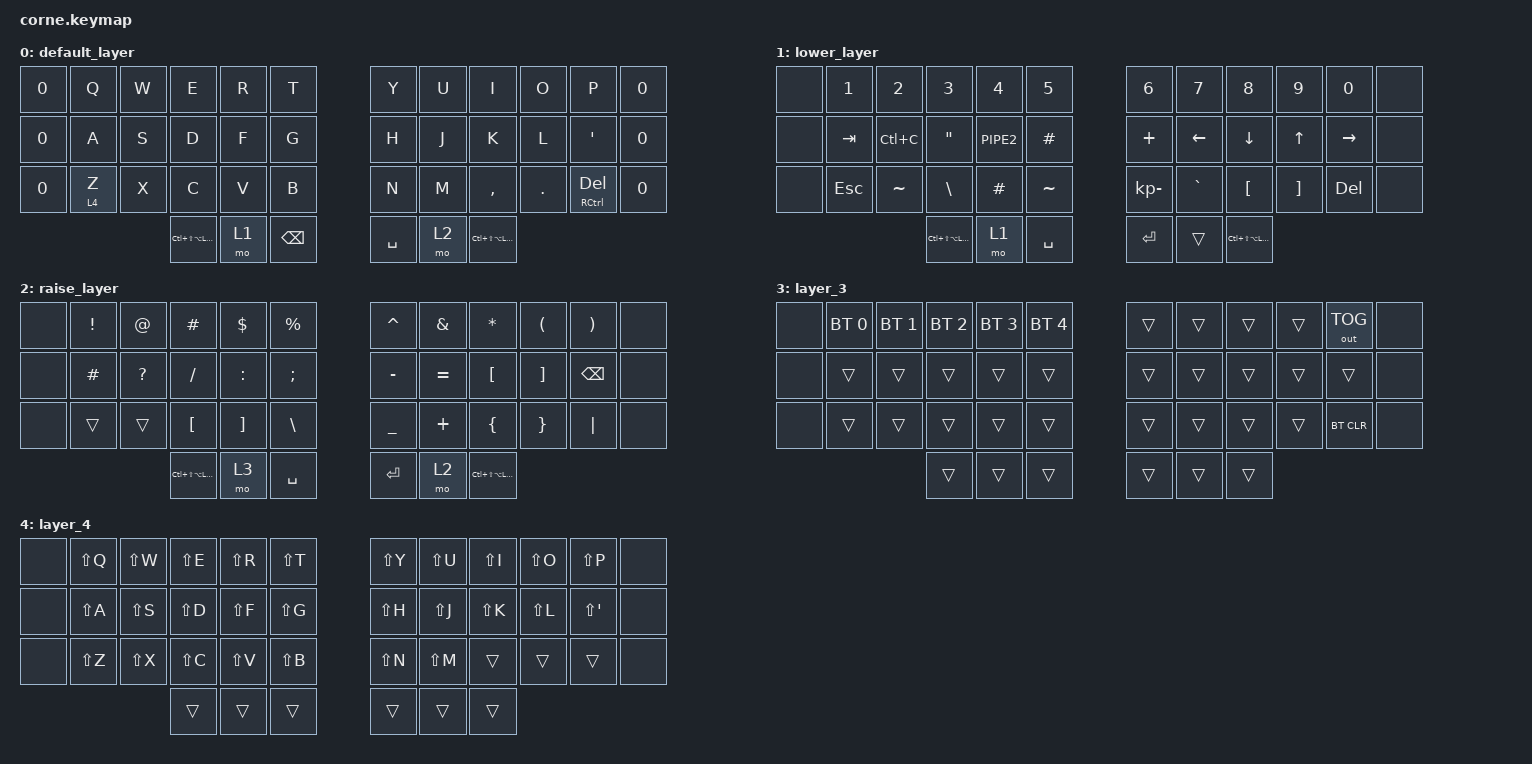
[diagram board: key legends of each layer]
/*
 * Copyright (c) 2020 The ZMK Contributors
 *
 * SPDX-License-Identifier: MIT
 */

#include <behaviors.dtsi>
#include <dt-bindings/zmk/bt.h>
#include <dt-bindings/zmk/keys.h>
#include <dt-bindings/zmk/outputs.h>

&mt {
    //  flavor = "tap-preferred";
    // tapping_term_ms = <200>;
};

//      (0)       1  	2 	3	4       5               6       7       8       9       10      (11)
//	(12)	13      14	15	16	17		18	19	20	21	22      (23)
//	(24)	25	26	27	28      29		30	31	32	33	34      (35)
//	                        36	37	38      	39	40      41
// 		>;

/ {
    combos {
        compatible = "zmk,combos";

        combo_esc {
            timeout-ms = <50>;
            key-positions = <1 2>;
            bindings = <&kp ESC>;
        };

        combo_tab {
            timeout-ms = <50>;
            key-positions = <9 10>;
            bindings = <&kp TAB>;
        };

        combo_ralt {
            timeout-ms = <50>;
            key-positions = <19 20>;
            bindings = <&kp RALT>;
        };

        combo_lalt {
            timeout-ms = <50>;
            key-positions = <14 15>;
            bindings = <&kp LALT>;
        };

        combo_lgui {
            timeout-ms = <50>;
            key-positions = <15 16>;
            bindings = <&kp LGUI>;
        };

        combo_rgui {
            timeout-ms = <50>;
            key-positions = <20 21>;
            bindings = <&kp RGUI>;
        };

        combo_lshift {
            timeout-ms = <50>;
            key-positions = <14 16>;
            bindings = <&kp LSHFT>;
        };

        combo_rshift {
            timeout-ms = <50>;
            key-positions = <19 21>;
            bindings = <&kp RSHFT>;
        };
    };

    behaviors {
        sp: sticky_press {
            compatible = "zmk,behavior-hold-tap";
            label = "STICKY_PRESS";
            #binding-cells = <2>;
            tapping_term_ms = <150>;
            quick_tap_ms = <0>;
            flavor = "tap-preferred";
            bindings = <&sl>, <&kp>;
        };
    };

    keymap {
        compatible = "zmk,keymap";

        default_layer {
            // -----------------------------------------------------------------------------------------
            // |  NA |  Q  |  W  |  E  |  R  |  T  |   |  Y  |  U   |  I  |  O  |  P  | NA |
            // | NA  |  A  |  S  |  D  |  F  |  G  |   |  H  |  J   |  K  |  L  |  ;  | NA |
            // | NA  |  Z  |  X  |  C  |  V  |  B  |   |  N  |  M   |  ,  |  .  |  /  | NA |
            //                   | GUI |LLyr |BSPC |   | SPC | RLyr | ALT |

            bindings = <
&kp N0  &kp Q    &kp W  &kp E     &kp R  &kp T       &kp Y      &kp U  &kp I      &kp O    &kp P             &kp N0
&kp N0  &kp A    &kp S  &kp D     &kp F  &kp G       &kp H      &kp J  &kp K      &kp L    &kp SINGLE_QUOTE  &kp N0
&kp N0  &sp 4 Z  &kp X  &kp C     &kp V  &kp B       &kp N      &kp M  &kp COMMA  &kp DOT  &mt RCTRL DEL     &kp N0
                        &kp LC(LS(LA(LGUI)))  &mo 1  &kp BSPC    &kp SPACE  &mo 2  &kp LC(LS(LA(LGUI))) 
            >;
        };

        lower_layer {
            // -----------------------------------------------------------------------------------------
            // |  TAB |  1  |  2  |  3  |  4  |  5  |   |  6  |  7  |  8  |  9  |  0  | BSPC |
            // | BTCLR| BT1 | BT2 | BT3 | BT4 | BT5 |   | LFT | DWN |  UP | RGT |     |      |
            // | SHFT |     |     |     |     |     |   |     |     |     |     |     |      |
            //                    | GUI |     | SPC |   | ENT |     | ALT |

            bindings = <
&none  &kp N1   &kp N2     &kp N3         &kp N4     &kp N5       &kp N6        &kp N7     &kp N8            &kp N9             &kp N0     &none
&none  &kp TAB  &kp LC(C)  &kp DQT        &kp PIPE2  &kp HASH     &kp PLUS      &kp LEFT   &kp DOWN          &kp UP             &kp RIGHT  &none
&none  &kp ESC  &kp TILDE  &kp BACKSLASH  &kp HASH   &kp TILDE    &kp KP_MINUS  &kp GRAVE  &kp LEFT_BRACKET  &kp RIGHT_BRACKET  &kp DEL    &none
                           &kp LC(LS(LA(LGUI)))      &mo 1      &kp SPACE    &kp RET       &trans     &kp LC(LS(LA(LGUI)))
            >;
        };

        raise_layer {
            // -----------------------------------------------------------------------------------------
            // |  TAB |  !  |  @  |  #  |  $  |  %  |   |  ^  |  &  |  *  |  (  |  )  | BSPC |
            // | CTRL |     |     |     |     |     |   |  -  |  =  |  [  |  ]  |  \  |  `   |
            // | SHFT |     |     |     |     |     |   |  _  |  +  |  {  |  }  | "|" |  ~   |
            //                    | GUI |     | SPC |   | ENT |     | ALT |

            bindings = <
&none  &kp EXCL  &kp AT        &kp HASH          &kp DLLR           &kp PRCNT    &kp CARET  &kp AMPS   &kp ASTRK  &kp LPAR  &kp RPAR       &none
&none  &kp HASH  &kp QUESTION  &kp SLASH         &kp COLON          &kp SEMI     &kp MINUS  &kp EQUAL  &kp LBKT   &kp RBKT  &kp BACKSPACE  &none
&none  &trans    &trans        &kp LEFT_BRACKET  &kp RIGHT_BRACKET  &kp BSLH     &kp UNDER  &kp PLUS   &kp LBRC   &kp RBRC  &kp PIPE       &none
                               &kp LC(LS(LA(LGUI)))         &mo 3              &kp SPACE    &kp RET    &mo 2      &kp LC(LS(LA(LGUI)))
            >;
        };

        layer_3 {
            bindings = <
&none  &bt BT_SEL 0  &bt BT_SEL 1  &bt BT_SEL 2  &bt BT_SEL 3  &bt BT_SEL 4    &trans  &trans  &trans  &trans  &out OUT_TOG  &none
&none  &trans        &trans        &trans        &trans  &trans                &trans  &trans  &trans  &trans  &trans        &none
&none  &trans        &trans        &trans        &trans  &trans                &trans  &trans  &trans  &trans  &bt BT_CLR    &none
                                    &trans        &trans  &trans                &trans  &trans  &trans
            >;
        };

        layer_4 {
            bindings = <
&none  &kp LS(Q)  &kp LS(W)  &kp LS(E)  &kp LS(R)  &kp LS(T)    &kp LS(Y)  &kp LS(U)  &kp LS(I)  &kp LS(O)  &kp LS(P)             &none
&none  &kp LS(A)  &kp LS(S)  &kp LS(D)  &kp LS(F)  &kp LS(G)    &kp LS(H)  &kp LS(J)  &kp LS(K)  &kp LS(L)  &kp LS(SINGLE_QUOTE)  &none
&none  &kp LS(Z)  &kp LS(X)  &kp LS(C)  &kp LS(V)  &kp LS(B)    &kp LS(N)  &kp LS(M)  &trans     &trans     &trans                &none
                              &trans     &trans     &trans       &trans     &trans     &trans
            >;
        };
    };
};
